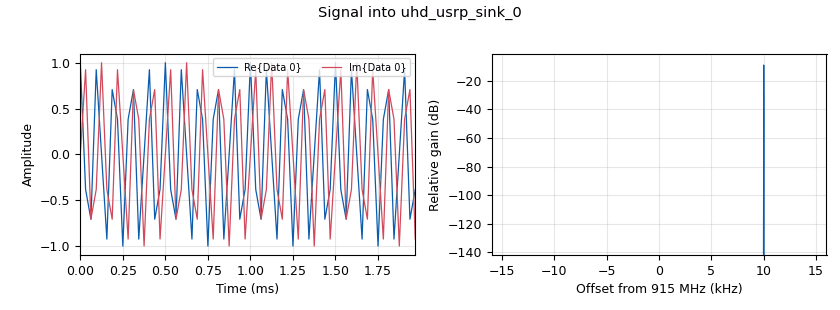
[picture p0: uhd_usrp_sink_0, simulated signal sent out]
options:
  parameters:
    generate_options: qt_gui
    id: tuning
    output_language: python
    title: Not titled yet
  states: {}

blocks:
- name: cos_freq
  id: variable_qtgui_range
  parameters:
    label: Cosine Freq
    start: '0'
    step: '1'
    stop: samp_rate/2
    value: 10e3
  states: {}
- name: rx_center_freq
  id: variable_qtgui_range
  parameters:
    label: rx_center_freq
    start: 300e6
    step: '1'
    stop: 1e9
    value: 915e6
  states: {}
- name: rx_device_addr
  id: variable
  parameters:
    value: '"serial=31909E8"'
  states: {}
- name: rx_gain
  id: variable_qtgui_range
  parameters:
    label: rx_gain
    start: '1'
    step: '1'
    stop: '76'
    value: '34'
  states: {}
- name: samp_rate
  id: variable
  parameters:
    value: '32000'
  states: {}
- name: tx_center_freq
  id: variable_qtgui_range
  parameters:
    label: tx_center_freq
    start: 300e6
    step: '1'
    stop: 1e9
    value: 915e6
  states: {}
- name: tx_device_addr
  id: variable
  parameters:
    value: '"serial=31909E4"'
  states: {}
- name: tx_gain
  id: variable_qtgui_range
  parameters:
    label: tx_gain
    start: '1'
    step: '1'
    stop: '89.8'
    value: '50'
  states: {}
- name: analog_sig_source_x_0
  id: analog_sig_source_x
  parameters:
    amp: '1'
    freq: cos_freq
    offset: '0'
    phase: '0'
    samp_rate: samp_rate
    type: complex
    waveform: analog.GR_COS_WAVE
  states: {}
- name: qtgui_waterfall_sink_x_0
  id: qtgui_waterfall_sink_x
  parameters:
    bw: samp_rate
    fc: '0'
    fftsize: '1024'
    name: '"RX Waterfall"'
    type: complex
  states: {}
- name: uhd_usrp_sink_0
  id: uhd_usrp_sink
  parameters:
    ant0: '"TX/RX"'
    bw0: 1/samp_rate
    center_freq0: tx_center_freq
    dev_addr: tx_device_addr
    gain0: tx_gain
    samp_rate: samp_rate
    sync: sync
    type: fc32
  states: {}
- name: uhd_usrp_source_0
  id: uhd_usrp_source
  parameters:
    ant0: '"RX2"'
    center_freq0: rx_center_freq
    dev_addr: rx_device_addr
    gain0: '0'
    samp_rate: samp_rate
    sync: sync
    type: fc32
  states: {}

connections:
- [analog_sig_source_x_0, '0', uhd_usrp_sink_0, '0']
- [uhd_usrp_source_0, '0', qtgui_waterfall_sink_x_0, '0']

metadata:
  file_format: 1
  grc_version: 3.10.9.2
